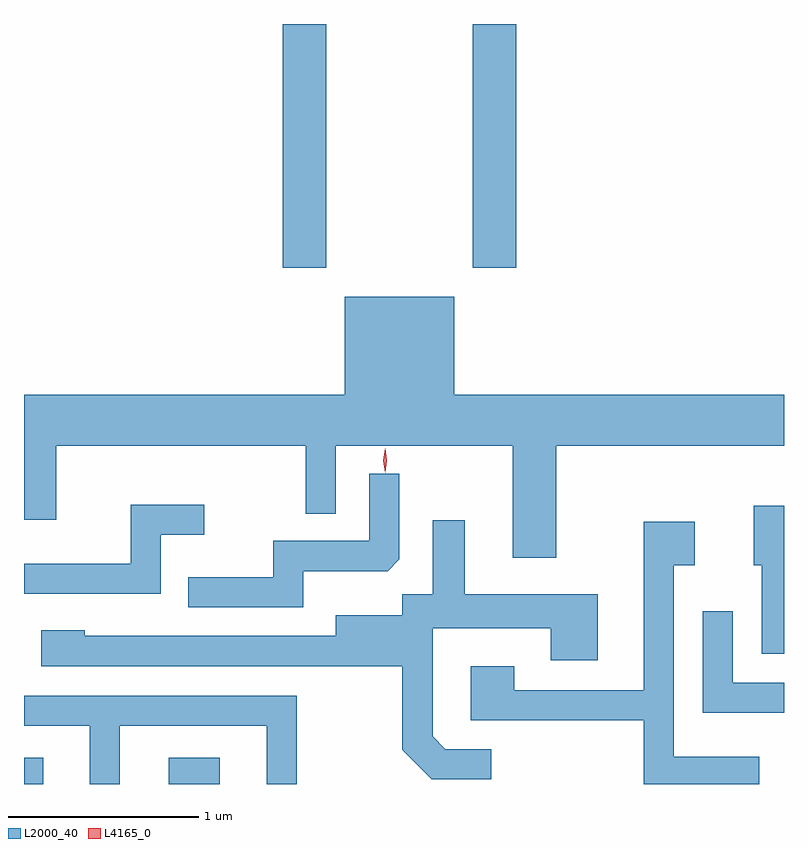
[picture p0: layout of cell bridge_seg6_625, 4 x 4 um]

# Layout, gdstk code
import gdstk
lib = gdstk.Library(unit=1e-6, precision=1e-09)
def R(c, l, rs):  # rectangles x0, y0, x1, y1
    for r in rs: c.add(gdstk.rectangle(r[:2], r[2:], *l))
def P(c, l, *ps):  # polygons
    for p in ps: c.add(gdstk.Polygon(p, *l))
L2000_40 = (2000, 40)
L4165_0 = (4165, 0)

bridge_seg6_625 = lib.new_cell('bridge_seg6_625')
R(bridge_seg6_625, L2000_40, [(399.349,1612.635,399.449,1612.774), (400.111,1612.635,400.379,1612.774), (400.711,1615.351,400.939,1616.635), (401.711,1615.351,401.939,1616.635)])
P(bridge_seg6_625, L2000_40, [(402.149,1614.416),(403.349,1614.416),(403.349,1614.684),(401.614,1614.684),(401.614,1615.199),(401.036,1615.199),(401.036,1614.684),(399.349,1614.684),(399.349,1614.026),(399.519,1614.026),(399.519,1614.416),(400.831,1614.416),(400.831,1614.058),(400.989,1614.058),(400.989,1614.416),(401.921,1614.416),(401.921,1613.826),(402.149,1613.826)],
  [(400.819,1613.756),(401.264,1613.756),(401.324,1613.817),(401.324,1614.268),(401.166,1614.268),(401.166,1613.914),(400.661,1613.914),(400.661,1613.724),(400.213,1613.724),(400.213,1613.566),(400.819,1613.566)],
  [(400.069,1613.946),(400.298,1613.946),(400.298,1614.104),(399.911,1614.104),(399.911,1613.794),(399.349,1613.794),(399.349,1613.636),(400.069,1613.636)],
  [(403.349,1614.099),(403.191,1614.099),(403.191,1613.786),(403.231,1613.786),(403.231,1613.321),(403.349,1613.321)],
  [(401.808,1612.819),(401.567,1612.819),(401.499,1612.887),(401.499,1613.456),(402.121,1613.456),(402.121,1613.286),(402.369,1613.286),(402.369,1613.634),(401.669,1613.634),(401.669,1614.023),(401.501,1614.023),(401.501,1613.634),(401.341,1613.634),(401.341,1613.524),(400.991,1613.524),(400.991,1613.414),(399.669,1613.414),(399.669,1613.444),(399.441,1613.444),(399.441,1613.256),(401.341,1613.256),(401.341,1612.814),(401.494,1612.661),(401.808,1612.661)],
  [(403.218,1612.779),(402.769,1612.779),(402.769,1613.786),(402.879,1613.786),(402.879,1614.014),(402.611,1614.014),(402.611,1613.129),(401.929,1613.129),(401.929,1613.254),(401.701,1613.254),(401.701,1612.971),(402.611,1612.971),(402.611,1612.635),(403.218,1612.635)],
  [(403.349,1613.169),(403.079,1613.169),(403.079,1613.543),(402.921,1613.543),(402.921,1613.011),(403.349,1613.011)],
  [(399.854,1612.941),(400.626,1612.941),(400.626,1612.635),(400.784,1612.635),(400.784,1613.099),(399.349,1613.099),(399.349,1612.941),(399.696,1612.941),(399.696,1612.635),(399.854,1612.635)])
P(bridge_seg6_625, L4165_0, [(401.249,1614.273),(401.249,1614.274),(401.24,1614.338),(401.249,1614.402),(401.249,1614.403),(401.25,1614.402),(401.259,1614.338),(401.25,1614.274)])

lib.write_gds('bridge_seg6_625.gds')
